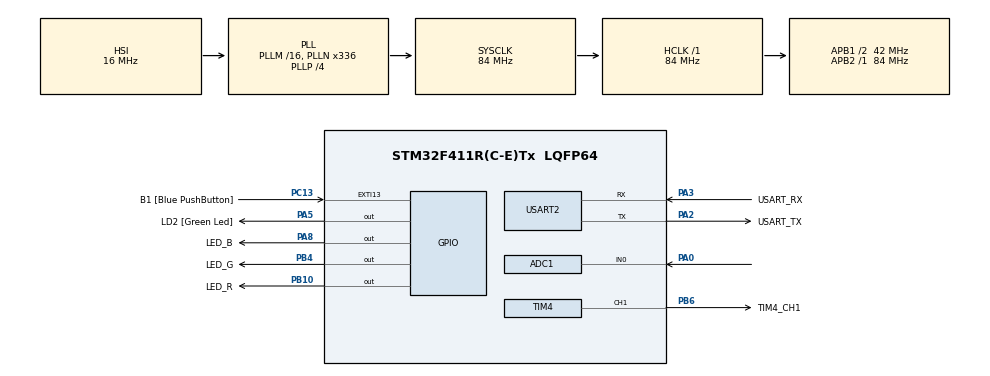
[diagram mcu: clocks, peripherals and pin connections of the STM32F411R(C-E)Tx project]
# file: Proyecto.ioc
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ADC1.Channel-0\#ChannelRegularConversion=ADC_CHANNEL_0
ADC1.ContinuousConvMode=DISABLE
ADC1.ExternalTrigConv=ADC_SOFTWARE_START
ADC1.InjNumberOfConversion=0
ADC1.NbrOfConversionFlag=1
ADC1.Rank-0\#ChannelRegularConversion=1
ADC1.SamplingTime-0\#ChannelRegularConversion=ADC_SAMPLETIME_144CYCLES
ADC1.ScanConvMode=DISABLE
ADC1.master=1
FREERTOS.Events01=systemFlags,Dynamic,NULL
FREERTOS.Mutexes01=mutexBuffer,Dynamic,NULL
FREERTOS.Queues01=colaCmd,32,command,0,Dynamic,NULL,NULL
FREERTOS.Tasks01=taskEjecutarCmd,8,128,StartTaskEjecutarCmd,Default,NULL,Dynamic,NULL,NULL;taskLeerADC,48,128,StartTaskLeerADC,Default,NULL,Dynamic,NULL,NULL;taskEnvioUART,8,128,StartTaskEnvioUART,Default,NULL,Dynamic,NULL,NULL;taskConnectionC,8,128,StartTaskConnectionCheck,Default,NULL,Dynamic,NULL,NULL
Mcu.Family=STM32F4
Mcu.Name=STM32F411R(C-E)Tx
Mcu.Package=LQFP64
NVIC.ADC_IRQn=true\:5\:0\:false\:false\:true\:true\:true\:true\:true
NVIC.PriorityGroup=NVIC_PRIORITYGROUP_4
NVIC.TIM3_IRQn=true\:5\:0\:false\:false\:true\:true\:true\:true\:true
NVIC.TIM4_IRQn=true\:5\:0\:false\:false\:true\:true\:true\:true\:true
NVIC.USART2_IRQn=true\:5\:0\:false\:false\:true\:true\:true\:true\:true
PA0-WKUP.Signal=ADCx_IN0
PA1.Signal=ADCx_IN1
PA13.GPIO_Label=TMS
PA13.Mode=Serial_Wire
PA13.Signal=SYS_JTMS-SWDIO
PA14.GPIO_Label=TCK
PA14.Mode=Serial_Wire
PA14.Signal=SYS_JTCK-SWCLK
PA2.GPIO_Label=USART_TX
PA2.Mode=Asynchronous
PA2.Signal=USART2_TX
PA3.GPIO_Label=USART_RX
PA3.Mode=Asynchronous
PA3.Signal=USART2_RX
PA5.GPIO_Label=LD2 [Green Led]
PA5.Signal=GPIO_Output
PA8.GPIO_Label=LED_B
PA8.Signal=GPIO_Output
PB10.GPIO_Label=LED_R
PB10.Signal=GPIO_Output
PB3.GPIO_Label=SWO
PB3.Signal=SYS_JTDO-SWO
PB4.GPIO_Label=LED_G
PB4.Signal=GPIO_Output
PB6.GPIO_Label=TIM4_CH1
PB6.GPIO_PuPd=GPIO_PULLDOWN
PB6.GPIO_Speed=GPIO_SPEED_FREQ_HIGH
PB6.Signal=S_TIM4_CH1
PC13-ANTI_TAMP.GPIO_Label=B1 [Blue PushButton]
PC13-ANTI_TAMP.GPIO_ModeDefaultEXTI=GPIO_MODE_IT_FALLING
PC13-ANTI_TAMP.Signal=GPXTI13
PC14-OSC32_IN.Mode=LSE-External-Oscillator
PC14-OSC32_IN.Signal=RCC_OSC32_IN
PC15-OSC32_OUT.Mode=LSE-External-Oscillator
PC15-OSC32_OUT.Signal=RCC_OSC32_OUT
PH0\ -\ OSC_IN.Mode=HSE-External-Clock-Source
PH0\ -\ OSC_IN.Signal=RCC_OSC_IN
PH1\ -\ OSC_OUT.Mode=HSE-External-Clock-Source
PH1\ -\ OSC_OUT.Signal=RCC_OSC_OUT
ProjectManager.HeapSize=0x200
ProjectManager.StackSize=0x400
ProjectManager.TargetToolchain=STM32CubeIDE
RCC.48MHZClocksFreq_Value=84000000
RCC.AHBFreq_Value=84000000
RCC.APB1CLKDivider=RCC_HCLK_DIV2
RCC.APB1Freq_Value=42000000
RCC.APB1TimFreq_Value=84000000
RCC.APB2Freq_Value=84000000
RCC.APB2TimFreq_Value=84000000
RCC.CortexFreq_Value=84000000
RCC.FLatency-AdvancedSettings=FLASH_LATENCY_2
RCC.HCLKFreq_Value=84000000
RCC.HSE_VALUE=8000000
RCC.HSI_VALUE=16000000
RCC.PLLN=336
RCC.PLLP=RCC_PLLP_DIV4
RCC.SYSCLKFreq_VALUE=84000000
RCC.SYSCLKSource=RCC_SYSCLKSOURCE_PLLCLK
RCC.VCOOutputFreq_Value=336000000
SH.ADCx_IN0.0=ADC1_IN0,IN0
SH.ADCx_IN1.0=ADC1_IN1
SH.S_TIM4_CH1.0=TIM4_CH1,PWM Generation1 CH1
TIM3.AutoReloadPreload=TIM_AUTORELOAD_PRELOAD_DISABLE
TIM3.Period=100
TIM3.Prescaler=84-1
TIM4.Channel-PWM\ Generation1\ CH1=TIM_CHANNEL_1
TIM4.Period=250
TIM4.Prescaler=840-1
TIM4.Pulse-PWM\ Generation1\ CH1=100
USART2.StopBits=STOPBITS_1
USART2.VirtualMode=VM_ASYNC
USART2.WordLength=WORDLENGTH_8B
VP_FREERTOS_VS_CMSIS_V2.Mode=CMSIS_V2
VP_TIM3_VS_ClockSourceINT.Mode=Internal
VP_TIM4_VS_ClockSourceINT.Mode=Internal
board=NUCLEO-F411RE

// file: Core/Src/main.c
/* USER CODE BEGIN Header */
/**
  ******************************************************************************
  * @file           : main.c
  * @brief          : Main program body
  ******************************************************************************
  * @attention
  *
  * Copyright (c) 2023 STMicroelectronics.
  * All rights reserved.
  *
  * This software is licensed under terms that can be found in the LICENSE file
  * in the root directory of this software component.
  * If no LICENSE file comes with this software, it is provided AS-IS.
  *
  ******************************************************************************
  */
/* USER CODE END Header */
#include "main.h"
#include "cmsis_os.h"

/* USER CODE BEGIN Includes */

#include "string.h"

/* USER CODE END Includes */

ADC_HandleTypeDef hadc1;

TIM_HandleTypeDef htim3;
TIM_HandleTypeDef htim4;

UART_HandleTypeDef huart2;

/* Definitions for taskEjecutarCmd */
osThreadId_t taskEjecutarCmdHandle;
const osThreadAttr_t taskEjecutarCmd_attributes = {
  .name = "taskEjecutarCmd",
  .stack_size = 128 * 4,
  .priority = (osPriority_t) osPriorityLow,
};
/* Definitions for taskLeerADC */
osThreadId_t taskLeerADCHandle;
const osThreadAttr_t taskLeerADC_attributes = {
  .name = "taskLeerADC",
  .stack_size = 128 * 4,
  .priority = (osPriority_t) osPriorityRealtime,
};
/* Definitions for taskEnvioUART */
osThreadId_t taskEnvioUARTHandle;
const osThreadAttr_t taskEnvioUART_attributes = {
  .name = "taskEnvioUART",
  .stack_size = 128 * 4,
  .priority = (osPriority_t) osPriorityLow,
};
/* Definitions for taskConnectionC */
osThreadId_t taskConnectionCHandle;
const osThreadAttr_t taskConnectionC_attributes = {
  .name = "taskConnectionC",
  .stack_size = 128 * 4,
  .priority = (osPriority_t) osPriorityLow,
};
/* Definitions for colaCmd */
osMessageQueueId_t colaCmdHandle;
const osMessageQueueAttr_t colaCmd_attributes = {
  .name = "colaCmd"
};
/* Definitions for mutexBuffer */
osMutexId_t mutexBufferHandle;
const osMutexAttr_t mutexBuffer_attributes = {
  .name = "mutexBuffer"
};
/* Definitions for systemFlags */
osEventFlagsId_t systemFlagsHandle;
const osEventFlagsAttr_t systemFlags_attributes = {
  .name = "systemFlags"
};

void SystemClock_Config(void);
static void MX_GPIO_Init(void);
static void MX_USART2_UART_Init(void);
static void MX_ADC1_Init(void);
static void MX_TIM3_Init(void);
static void MX_TIM4_Init(void);
void StartTaskEjecutarCmd(void *argument);
void StartTaskLeerADC(void *argument);
void StartTaskEnvioUART(void *argument);
void StartTaskConnectionCheck(void *argument);

/* USER CODE BEGIN 0 */

uint16_t bufferAdc[1024];
uint8_t buffer_commands[2];
int connection_status;

//int uart_time = 10;
int uart_time = 5000;
int n_samples = 1;
int sample_time = 25;

typedef enum {
	INVALID = 0,
	SET_UART_TIME,
	SET_SAMPLE_TIME,
	SET_MODE,
	CONNECTION_STATUS,
	PERIOD_TEST_SIGNAL,
	DUTY_TEST_SIGNAL
} command_id;

typedef struct command {
	command_id type;
	uint8_t arg;
} command;

/* USER CODE END 0 */

int main(void)
{

  /* MCU Configuration--------------------------------------------------------*/

  /* Reset of all peripherals, Initializes the Flash interface and the Systick. */
  HAL_Init();

  /* Configure the system clock */
  SystemClock_Config();

  /* Initialize all configured peripherals */
  MX_GPIO_Init();
  MX_USART2_UART_Init();
  MX_ADC1_Init();
  MX_TIM3_Init();
  MX_TIM4_Init();

  /* Init scheduler */
  osKernelInitialize();
  /* Create the mutex(es) */
  /* creation of mutexBuffer */
  mutexBufferHandle = osMutexNew(&mutexBuffer_attributes);

  /* Create the queue(s) */
  /* creation of colaCmd */
  colaCmdHandle = osMessageQueueNew (32, sizeof(command), &colaCmd_attributes);

  /* Create the thread(s) */
  /* creation of taskEjecutarCmd */
  taskEjecutarCmdHandle = osThreadNew(StartTaskEjecutarCmd, NULL, &taskEjecutarCmd_attributes);

  /* creation of taskLeerADC */
  taskLeerADCHandle = osThreadNew(StartTaskLeerADC, NULL, &taskLeerADC_attributes);

  /* creation of taskEnvioUART */
  taskEnvioUARTHandle = osThreadNew(StartTaskEnvioUART, NULL, &taskEnvioUART_attributes);

  /* creation of taskConnectionC */
  taskConnectionCHandle = osThreadNew(StartTaskConnectionCheck, NULL, &taskConnectionC_attributes);

  /* creation of systemFlags */
  systemFlagsHandle = osEventFlagsNew(&systemFlags_attributes);

  /* USER CODE BEGIN RTOS_EVENTS */
  /* add events, ... */
  HAL_UART_Receive_IT(&huart2, buffer_commands, 2);
  HAL_TIM_Base_Start_IT(&htim3);
  HAL_TIM_PWM_Start(&htim4,TIM_CHANNEL_1);
  /* USER CODE END RTOS_EVENTS */

  /* Start scheduler */
  osKernelStart();

  /* We should never get here as control is now taken by the scheduler */
  /* Infinite loop */
  while (1)
  {

  }
}

void SystemClock_Config(void)
{
  RCC_OscInitTypeDef RCC_OscInitStruct = {0};
  RCC_ClkInitTypeDef RCC_ClkInitStruct = {0};

  /** Configure the main internal regulator output voltage
  */
  __HAL_RCC_PWR_CLK_ENABLE();
  __HAL_PWR_VOLTAGESCALING_CONFIG(PWR_REGULATOR_VOLTAGE_SCALE1);

  /** Initializes the RCC Oscillators according to the specified parameters
  * in the RCC_OscInitTypeDef structure.
  */
  RCC_OscInitStruct.OscillatorType = RCC_OSCILLATORTYPE_HSI;
  RCC_OscInitStruct.HSIState = RCC_HSI_ON;
  RCC_OscInitStruct.HSICalibrationValue = RCC_HSICALIBRATION_DEFAULT;
  RCC_OscInitStruct.PLL.PLLState = RCC_PLL_ON;
  RCC_OscInitStruct.PLL.PLLSource = RCC_PLLSOURCE_HSI;
  RCC_OscInitStruct.PLL.PLLM = 16;
  RCC_OscInitStruct.PLL.PLLN = 336;
  RCC_OscInitStruct.PLL.PLLP = RCC_PLLP_DIV4;
  RCC_OscInitStruct.PLL.PLLQ = 4;
  if (HAL_RCC_OscConfig(&RCC_OscInitStruct) != HAL_OK)
  {
    Error_Handler();
  }

  /** Initializes the CPU, AHB and APB buses clocks
  */
  RCC_ClkInitStruct.ClockType = RCC_CLOCKTYPE_HCLK|RCC_CLOCKTYPE_SYSCLK
                              |RCC_CLOCKTYPE_PCLK1|RCC_CLOCKTYPE_PCLK2;
  RCC_ClkInitStruct.SYSCLKSource = RCC_SYSCLKSOURCE_PLLCLK;
  RCC_ClkInitStruct.AHBCLKDivider = RCC_SYSCLK_DIV1;
  RCC_ClkInitStruct.APB1CLKDivider = RCC_HCLK_DIV2;
  RCC_ClkInitStruct.APB2CLKDivider = RCC_HCLK_DIV1;

  if (HAL_RCC_ClockConfig(&RCC_ClkInitStruct, FLASH_LATENCY_2) != HAL_OK)
  {
    Error_Handler();
  }
}

static void MX_ADC1_Init(void)
{

  ADC_ChannelConfTypeDef sConfig = {0};

  /** Configure the global features of the ADC (Clock, Resolution, Data Alignment and number of conversion)
  */
  hadc1.Instance = ADC1;
  hadc1.Init.ClockPrescaler = ADC_CLOCK_SYNC_PCLK_DIV4;
  hadc1.Init.Resolution = ADC_RESOLUTION_12B;
  hadc1.Init.ScanConvMode = DISABLE;
  hadc1.Init.ContinuousConvMode = DISABLE;
  hadc1.Init.DiscontinuousConvMode = DISABLE;
  hadc1.Init.ExternalTrigConvEdge = ADC_EXTERNALTRIGCONVEDGE_NONE;
  hadc1.Init.ExternalTrigConv = ADC_SOFTWARE_START;
  hadc1.Init.DataAlign = ADC_DATAALIGN_RIGHT;
  hadc1.Init.NbrOfConversion = 1;
  hadc1.Init.DMAContinuousRequests = DISABLE;
  hadc1.Init.EOCSelection = ADC_EOC_SINGLE_CONV;
  if (HAL_ADC_Init(&hadc1) != HAL_OK)
  {
    Error_Handler();
  }

  /** Configure for the selected ADC regular channel its corresponding rank in the sequencer and its sample time.
  */
  sConfig.Channel = ADC_CHANNEL_0;
  sConfig.Rank = 1;
  sConfig.SamplingTime = ADC_SAMPLETIME_144CYCLES;
  if (HAL_ADC_ConfigChannel(&hadc1, &sConfig) != HAL_OK)
  {
    Error_Handler();
  }

}

static void MX_TIM3_Init(void)
{

  TIM_ClockConfigTypeDef sClockSourceConfig = {0};
  TIM_MasterConfigTypeDef sMasterConfig = {0};

  htim3.Instance = TIM3;
  htim3.Init.Prescaler = 84-1;
  htim3.Init.CounterMode = TIM_COUNTERMODE_UP;
  htim3.Init.Period = 100;
  htim3.Init.ClockDivision = TIM_CLOCKDIVISION_DIV1;
  htim3.Init.AutoReloadPreload = TIM_AUTORELOAD_PRELOAD_DISABLE;
  if (HAL_TIM_Base_Init(&htim3) != HAL_OK)
  {
    Error_Handler();
  }
  sClockSourceConfig.ClockSource = TIM_CLOCKSOURCE_INTERNAL;
  if (HAL_TIM_ConfigClockSource(&htim3, &sClockSourceConfig) != HAL_OK)
  {
    Error_Handler();
  }
  sMasterConfig.MasterOutputTrigger = TIM_TRGO_RESET;
  sMasterConfig.MasterSlaveMode = TIM_MASTERSLAVEMODE_DISABLE;
  if (HAL_TIMEx_MasterConfigSynchronization(&htim3, &sMasterConfig) != HAL_OK)
  {
    Error_Handler();
  }

}

static void MX_TIM4_Init(void)
{

  TIM_ClockConfigTypeDef sClockSourceConfig = {0};
  TIM_MasterConfigTypeDef sMasterConfig = {0};
  TIM_OC_InitTypeDef sConfigOC = {0};

  htim4.Instance = TIM4;
  htim4.Init.Prescaler = 840-1;
  htim4.Init.CounterMode = TIM_COUNTERMODE_UP;
  htim4.Init.Period = 250;
  htim4.Init.ClockDivision = TIM_CLOCKDIVISION_DIV1;
  htim4.Init.AutoReloadPreload = TIM_AUTORELOAD_PRELOAD_DISABLE;
  if (HAL_TIM_Base_Init(&htim4) != HAL_OK)
  {
    Error_Handler();
  }
  sClockSourceConfig.ClockSource = TIM_CLOCKSOURCE_INTERNAL;
  if (HAL_TIM_ConfigClockSource(&htim4, &sClockSourceConfig) != HAL_OK)
  {
    Error_Handler();
  }
  if (HAL_TIM_PWM_Init(&htim4) != HAL_OK)
  {
    Error_Handler();
  }
  sMasterConfig.MasterOutputTrigger = TIM_TRGO_RESET;
  sMasterConfig.MasterSlaveMode = TIM_MASTERSLAVEMODE_DISABLE;
  if (HAL_TIMEx_MasterConfigSynchronization(&htim4, &sMasterConfig) != HAL_OK)
  {
    Error_Handler();
  }
  sConfigOC.OCMode = TIM_OCMODE_PWM1;
  sConfigOC.Pulse = 100;
  sConfigOC.OCPolarity = TIM_OCPOLARITY_HIGH;
  sConfigOC.OCFastMode = TIM_OCFAST_DISABLE;
  if (HAL_TIM_PWM_ConfigChannel(&htim4, &sConfigOC, TIM_CHANNEL_1) != HAL_OK)
  {
    Error_Handler();
  }
  HAL_TIM_MspPostInit(&htim4);

}

static void MX_USART2_UART_Init(void)
{

  huart2.Instance = USART2;
  huart2.Init.BaudRate = 115200;
  huart2.Init.WordLength = UART_WORDLENGTH_8B;
  huart2.Init.StopBits = UART_STOPBITS_1;
  huart2.Init.Parity = UART_PARITY_NONE;
  huart2.Init.Mode = UART_MODE_TX_RX;
  huart2.Init.HwFlowCtl = UART_HWCONTROL_NONE;
  huart2.Init.OverSampling = UART_OVERSAMPLING_16;
  if (HAL_UART_Init(&huart2) != HAL_OK)
  {
    Error_Handler();
  }

}

static void MX_GPIO_Init(void)
{
  GPIO_InitTypeDef GPIO_InitStruct = {0};

  /* GPIO Ports Clock Enable */
  __HAL_RCC_GPIOC_CLK_ENABLE();
  __HAL_RCC_GPIOH_CLK_ENABLE();
  __HAL_RCC_GPIOA_CLK_ENABLE();
  __HAL_RCC_GPIOB_CLK_ENABLE();

  /*Configure GPIO pin Output Level */
  HAL_GPIO_WritePin(GPIOA, LD2_Pin|LED_B_Pin, GPIO_PIN_RESET);

  /*Configure GPIO pin Output Level */
  HAL_GPIO_WritePin(GPIOB, LED_R_Pin|LED_G_Pin, GPIO_PIN_RESET);

  /*Configure GPIO pin : B1_Pin */
  GPIO_InitStruct.Pin = B1_Pin;
  GPIO_InitStruct.Mode = GPIO_MODE_IT_FALLING;
  GPIO_InitStruct.Pull = GPIO_NOPULL;
  HAL_GPIO_Init(B1_GPIO_Port, &GPIO_InitStruct);

  /*Configure GPIO pins : LD2_Pin LED_B_Pin */
  GPIO_InitStruct.Pin = LD2_Pin|LED_B_Pin;
  GPIO_InitStruct.Mode = GPIO_MODE_OUTPUT_PP;
  GPIO_InitStruct.Pull = GPIO_NOPULL;
  GPIO_InitStruct.Speed = GPIO_SPEED_FREQ_LOW;
  HAL_GPIO_Init(GPIOA, &GPIO_InitStruct);

  /*Configure GPIO pins : LED_R_Pin LED_G_Pin */
  GPIO_InitStruct.Pin = LED_R_Pin|LED_G_Pin;
  GPIO_InitStruct.Mode = GPIO_MODE_OUTPUT_PP;
  GPIO_InitStruct.Pull = GPIO_NOPULL;
  GPIO_InitStruct.Speed = GPIO_SPEED_FREQ_LOW;
  HAL_GPIO_Init(GPIOB, &GPIO_InitStruct);

}

/* USER CODE BEGIN 4 */

void HAL_ADC_ConvCpltCallback(ADC_HandleTypeDef* hadc) {
	static int index_sample = 0;
	uint16_t dato;

	dato = HAL_ADC_GetValue(&hadc1);

	osMutexAcquire(mutexBufferHandle, osWaitForever);
	bufferAdc[index_sample] = dato;
	osMutexRelease(mutexBufferHandle);

	index_sample++;
	if (index_sample == n_samples) {
	  index_sample = 0;
	  HAL_TIM_Base_Stop_IT(&htim3); //Parar el muestreo
	  osEventFlagsSet(systemFlagsHandle, BUFFER_FULL_FLAG);
	}
}

void HAL_UART_RxCpltCallback(UART_HandleTypeDef *huart) {
	// DECODIFICAR MENSAJE RECIBIDO
	command cmd;
	int cmd_valid = 1;

	switch (buffer_commands[0]) {
	case 'U':
		cmd.type = SET_UART_TIME;
		break;
	case 'T':
		cmd.type = SET_SAMPLE_TIME;
		break;
	case 'M':
		cmd.type = SET_MODE;
		break;
	case 'C':
		cmd.type = CONNECTION_STATUS;
		break;
	case 'P':
		cmd.type = PERIOD_TEST_SIGNAL;
		break;
	case 'D':
		cmd.type = DUTY_TEST_SIGNAL;
		break;
	default:
		cmd_valid = 0;
		break;
	}

	// METER CMD A LA COLA
	if (cmd_valid) {
		cmd.arg = buffer_commands[1];
		osMessageQueuePut(colaCmdHandle, &cmd, 0, 0);
	}

	HAL_UART_Receive_IT(&huart2, buffer_commands, sizeof(buffer_commands));
}

/* USER CODE END 4 */

void StartTaskEjecutarCmd(void *argument)
{
	/* USER CODE BEGIN 5 */
	command cmd;
	// CALCULAR DUTY INICIAL
	int duty = __HAL_TIM_GET_COMPARE(&htim4,TIM_CHANNEL_1)*100/__HAL_TIM_GET_AUTORELOAD(&htim4);

  /* Infinite loop */
  for(;;)
  {
	  // SACAR CMD DE LA COLA
	  osMessageQueueGet(colaCmdHandle, &cmd, 0, osWaitForever);

	  switch (cmd.type) {
	  case SET_UART_TIME:
		  uart_time = cmd.arg;
		  break;
	  case SET_SAMPLE_TIME:
		  sample_time = cmd.arg;

		  // APAGAR TIMER
		  HAL_TIM_Base_Stop_IT(&htim3);
		  // CONFIG TIMER
		  __HAL_TIM_SET_COUNTER(&htim3,0);
		  __HAL_TIM_SET_AUTORELOAD(&htim3,sample_time);

		  // ENCENDER TIMER
		  HAL_TIM_Base_Start_IT(&htim3);

		  break;
	  case SET_MODE:
		  if (cmd.arg == 0){
			  n_samples = 100;
		  }
		  else if (cmd.arg == 1){
			  n_samples = 1;
		  }
		  break;

	  case CONNECTION_STATUS:
		  if (cmd.arg == 1) {
			  connection_status++;
		  } else {
			  connection_status--;
		  }
		  osEventFlagsSet(systemFlagsHandle, CONNECTION_STATUS_FLAG);
		  break;
	  case PERIOD_TEST_SIGNAL:
		  // APAGAR SEÑAL
		  HAL_TIM_PWM_Stop(&htim4,TIM_CHANNEL_1);
		  // CONFIG TIMER
		  __HAL_TIM_SET_COUNTER(&htim4,0);
		  // CAMBIAR PERIODO
		  __HAL_TIM_SET_AUTORELOAD(&htim4,cmd.arg*10);
		  __HAL_TIM_SET_COMPARE(&htim4,TIM_CHANNEL_1,cmd.arg*10*duty/100);
		  // ENCENDER SEÑAL
		  HAL_TIM_PWM_Start(&htim4,TIM_CHANNEL_1);
		  break;
	  case DUTY_TEST_SIGNAL:
		  // APAGAR SEÑAL
		  HAL_TIM_PWM_Stop(&htim4,TIM_CHANNEL_1);
		  // CONFIG TIMER
		  __HAL_TIM_SET_COUNTER(&htim4,0);
		  // OBTENER PERIODO
		  int period = __HAL_TIM_GET_AUTORELOAD(&htim4);
		  // CAMBIAR DUTY
		  duty = cmd.arg;
		  __HAL_TIM_SET_COMPARE(&htim4,TIM_CHANNEL_1,period*duty/100);
		  // ENCENDER SEÑAL
		  HAL_TIM_PWM_Start(&htim4,TIM_CHANNEL_1);
		  break;
	  default:
		  break;
	  }

	 osDelay(10);
  }
  /* USER CODE END 5 */
}

void StartTaskLeerADC(void *argument)
{
  /* USER CODE BEGIN StartTaskLeerADC */
  /* Infinite loop */

	for(;;)
	{
		HAL_TIM_Base_Start_IT(&htim3); // Comenzar reloj de muestreo, activa el ADC
		osDelay(uart_time);
	}
  /* USER CODE END StartTaskLeerADC */
}

void StartTaskEnvioUART(void *argument)
{
  /* USER CODE BEGIN StartTaskEnvioUART */
	char mensaje[202];
	/* Infinite loop */
  for(;;)
  {
	  osEventFlagsWait(systemFlagsHandle, BUFFER_FULL_FLAG | CAN_SEND_FLAG, osFlagsNoClear | osFlagsWaitAll, osWaitForever);
	  osEventFlagsClear(systemFlagsHandle, BUFFER_FULL_FLAG);

	  mensaje[0] = 0xFE;
	  mensaje[1] = 0xFE;
	  mensaje[n_samples * 2 + 2] = 0xFF;
	  mensaje[n_samples * 2 + 3] = 0xFF;

	  osMutexAcquire(mutexBufferHandle, osWaitForever);
	  memcpy(&mensaje[2], (uint8_t *) bufferAdc, n_samples * 2);
	  osMutexRelease(mutexBufferHandle);

	  HAL_UART_Transmit(&huart2, (uint8_t *) mensaje, n_samples * 2 + 4, osWaitForever);
  }
  /* USER CODE END StartTaskEnvioUART */
}

void StartTaskConnectionCheck(void *argument)
{
  /* USER CODE BEGIN StartTaskConnectionCheck */
  /* Infinite loop */
	int status_anterior = connection_status;
  for(;;)
  {
	  osEventFlagsWait(systemFlagsHandle, CONNECTION_STATUS_FLAG, osFlagsWaitAny, 2100);
	  osEventFlagsClear(systemFlagsHandle, CONNECTION_STATUS_FLAG);

	  if (status_anterior < connection_status) {
		  // LED VERDE
		  HAL_GPIO_WritePin(LED_R_GPIO_Port, LED_R_Pin, GPIO_PIN_RESET);
		  HAL_GPIO_WritePin(LED_G_GPIO_Port, LED_G_Pin, GPIO_PIN_SET);
		  osEventFlagsSet(systemFlagsHandle, CAN_SEND_FLAG);
	  } else {
		  // LED ROJO
		  HAL_GPIO_WritePin(LED_G_GPIO_Port, LED_G_Pin, GPIO_PIN_RESET);
		  HAL_GPIO_WritePin(LED_R_GPIO_Port, LED_R_Pin, GPIO_PIN_SET);
		  osEventFlagsClear(systemFlagsHandle, CAN_SEND_FLAG);
	  }
	  status_anterior = connection_status;
  }
  /* USER CODE END StartTaskConnectionCheck */
}

void Error_Handler(void)
{
  __disable_irq();
  while (1)
  {
  }
}
